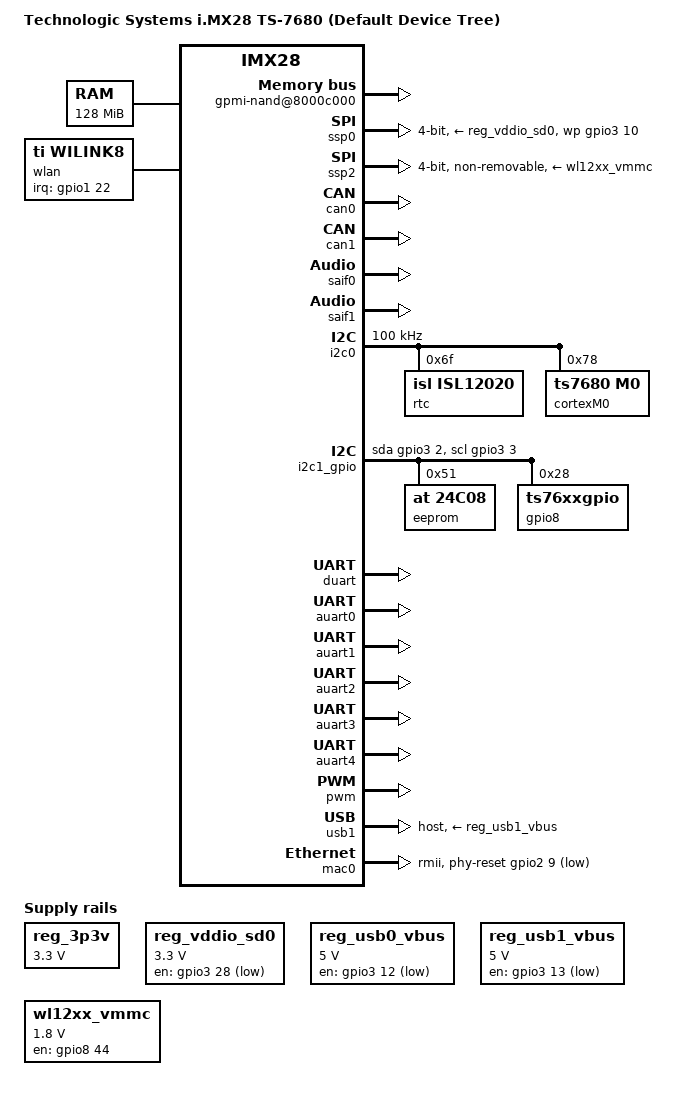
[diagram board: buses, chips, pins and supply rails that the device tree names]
/*
 * Copyright (C) 2012 Marek Vasut <marex@denx.de>
 *
 * The code contained herein is licensed under the GNU General Public
 * License. You may obtain a copy of the GNU General Public License
 * Version 2 or later at the following locations:
 *
 * http://www.opensource.org/licenses/gpl-license.html
 * http://www.gnu.org/copyleft/gpl.html
 */

/dts-v1/;
#include "imx28.dtsi"
#include "dt-bindings/gpio/gpio.h"
#include <dt-bindings/interrupt-controller/irq.h>

/ {
	model = "Technologic Systems i.MX28 TS-7680 (Default Device Tree)";
	compatible = "fsl,imx28-ts7680", "fsl,imx28";

	memory {
		reg = <0x40000000 0x08000000>;   /* 128MB */
	};

	apb@80000000 {
		apbh@80000000 {
		
			gpmi-nand@8000c000 {
				#address-cells = <1>;
				#size-cells = <1>;
				pinctrl-names = "default";
				pinctrl-0 = <&gpmi_pins_ts7680 &gpmi_status_cfg_ts7680>;
				status = "okay";

				partition@0 {
					label = "bootloader";
					reg = <0x00000000 0x01400000>;
				};

				partition@1 {
					label = "tspart";
					reg = <0x01400000 0x01400000>;
				};

				partition@2 {
					label = "filesystem";
					reg = <0x02800000 0x7D800000>;
				};
			};
	   
			
			ssp0: ssp@80010000 {
				compatible = "fsl,imx28-mmc";
				#address-cells = <1>;
				#size-cells = <0>;
				reg = <0x80010000 0x2000>;
				interrupts = <96>;
				clocks = <&clks 46>;
				dmas = <&dma_apbh 0>;
				dma-names = "rx-tx";
				pinctrl-names = "default";
				pinctrl-0 = <&mmc0_4bit_pins_ts7680					     
					     &mmc0_sck_cfg
					     &en_sd_pwr>;
				broken-cd = <1>;	     
				bus-width = <4>;
				wp-gpios = <&gpio3 10 0>;
				vmmc-supply = <&reg_vddio_sd0>;
				status = "okay";
			};
						
			ssp2: ssp@80014000 {
				compatible = "fsl,imx28-mmc";
				max-frequency = <26000000>;
				pinctrl-names = "default";
				pinctrl-0 = <&mmc1_4bit_pins_ts7680 
				            &mmc_sck_cfg 
				            &wifi_irq>;
				broken-cd = <1>;				
				cap-sdio-irq;
				non-removable;
				bus-width = <4>;
				vmmc-supply = <&wl12xx_vmmc>;
				status = "okay";
			};
			
			
			pinctrl@80018000 {
				pinctrl-names = "default";
				
				en_sd_pwr: en_sd_pwr {
				   fsl,pinmux-ids = <
				      MX28_PAD_PWM3__GPIO_3_28   // EN_SD_POWER#
				   >;
				   fsl,drive-strength = <MXS_DRIVE_4mA>;
					fsl,voltage = <MXS_VOLTAGE_HIGH>;
					fsl,pull-up = <MXS_PULL_DISABLE>;				   
				};
								
				mmc0_4bit_pins_ts7680: mmc0-4bit@0 {
					reg = <0>;
					fsl,pinmux-ids = <
						MX28_PAD_SSP0_DATA0__SSP0_D0
						MX28_PAD_SSP0_DATA1__SSP0_D1
						MX28_PAD_SSP0_DATA2__SSP0_D2
						MX28_PAD_SSP0_DATA3__SSP0_D3
						MX28_PAD_SSP0_CMD__SSP0_CMD						
						MX28_PAD_SSP0_SCK__SSP0_SCK
					>;
					fsl,drive-strength = <MXS_DRIVE_8mA>;
					fsl,voltage = <MXS_VOLTAGE_HIGH>;
					fsl,pull-up = <MXS_PULL_ENABLE>;
				};
				
				mmc1_4bit_pins_ts7680: mmc1-4bit@0 {   /* wifi */
					reg = <0>;
					fsl,pinmux-ids = <
					   MX28_PAD_SSP0_DATA4__SSP2_D0
					   MX28_PAD_SSP2_SS1__SSP2_D1
						MX28_PAD_SSP2_SS2__SSP2_D2
						MX28_PAD_SSP0_DATA5__SSP2_D3
						MX28_PAD_SSP0_DATA6__SSP2_CMD
						MX28_PAD_SSP0_DATA7__SSP2_SCK						
						MX28_PAD_LCD_D22__GPIO_1_22
					>;
					fsl,drive-strength = <MXS_DRIVE_8mA>;
					fsl,voltage = <MXS_VOLTAGE_LOW>;
					fsl,pull-up = <MXS_PULL_ENABLE>;
				};

				
				wifi_irq: wifi-irq {									
					fsl,pinmux-ids = <					   
						MX28_PAD_LCD_D22__GPIO_1_22
					>;
					fsl,drive-strength = <MXS_DRIVE_8mA>;
					fsl,pull-up = <MXS_PULL_ENABLE>;
				};

				mmc_sck_cfg: mmc-sck-cfg {
					fsl,pinmux-ids = <
						MX28_PAD_SSP0_DATA7__SSP2_SCK
					>;
					fsl,drive-strength = <MXS_DRIVE_12mA>;
					fsl,pull-up = <MXS_PULL_DISABLE>;
				};
				
								
				gpmi_pins_ts7680: gpmi-nand-ts7680@0 {
					reg = <0>;
					fsl,pinmux-ids = <
						MX28_PAD_GPMI_D00__GPMI_D0
						MX28_PAD_GPMI_D01__GPMI_D1
						MX28_PAD_GPMI_D02__GPMI_D2
						MX28_PAD_GPMI_D03__GPMI_D3
						MX28_PAD_GPMI_D04__GPMI_D4
						MX28_PAD_GPMI_D05__GPMI_D5
						MX28_PAD_GPMI_D06__GPMI_D6
						MX28_PAD_GPMI_D07__GPMI_D7
						MX28_PAD_GPMI_CE0N__GPMI_CE0N
						MX28_PAD_GPMI_RDY0__GPMI_READY0
						MX28_PAD_GPMI_RDN__GPMI_RDN
						MX28_PAD_GPMI_WRN__GPMI_WRN
						MX28_PAD_GPMI_ALE__GPMI_ALE
						MX28_PAD_GPMI_CLE__SSP3_D2
						MX28_PAD_GPMI_CLE__GPMI_CLE
						MX28_PAD_GPMI_RDY1__GPIO_0_21      /* NC */
						MX28_PAD_GPMI_CE1N__GPIO_0_17      /* RED_LED# */
						MX28_PAD_GPMI_RESETN__GPIO_0_28    /* GREEN_LED# */
					>;
					fsl,drive-strength = <MXS_DRIVE_4mA>;
					fsl,voltage = <MXS_VOLTAGE_HIGH>;
					fsl,pull-up = <MXS_PULL_ENABLE>;
				};
				
				gpmi_status_cfg_ts7680: gpmi-status-cfg-ts7680 {
					fsl,pinmux-ids = <
						MX28_PAD_GPMI_RDN__GPMI_RDN
						MX28_PAD_GPMI_WRN__GPMI_WRN						
						MX28_PAD_GPMI_CE1N__GPIO_0_17      /* RED_LED# */
						MX28_PAD_GPMI_RESETN__GPIO_0_28    /* GREEN_LED# */
					>;
					
					fsl,drive-strength = <MXS_DRIVE_12mA>;
				};
				
				mac0_pins_ts7680: mac0@0 {
					reg = <0>;
					fsl,pinmux-ids = <
					   MX28_PAD_ENET0_MDC__GPIO_4_0
					   MX28_PAD_ENET0_MDIO__GPIO_4_1
					   MX28_PAD_ENET0_RX_EN__ENET0_RX_EN
					   MX28_PAD_ENET0_RXD0__ENET0_RXD0
					   MX28_PAD_ENET0_RXD1__ENET0_RXD1
					   MX28_PAD_ENET0_TX_EN__ENET0_TX_EN
					   MX28_PAD_ENET0_TXD0__ENET0_TXD0
					   MX28_PAD_ENET0_TXD1__ENET0_TXD1
					   MX28_PAD_ENET_CLK__CLKCTRL_ENET
					   MX28_PAD_SSP0_DETECT__GPIO_2_9   // ETH_RESET#
					>;
					fsl,drive-strength = <MXS_DRIVE_8mA>;
					fsl,voltage = <MXS_VOLTAGE_HIGH>;
					fsl,pull-up = <MXS_PULL_ENABLE>;
				};

			  i2c1_gpio_pins: i2c1_gpio_pins@0 {			  
			     fsl,pinmux-ids = <
				      MX28_PAD_AUART0_RTS__GPIO_3_3   // E2_I2C_CLK
				      MX28_PAD_AUART0_CTS__GPIO_3_2   // E2_I2C_DAT
				   >;
				   fsl,drive-strength = <MXS_DRIVE_4mA>;
					fsl,voltage = <MXS_VOLTAGE_HIGH>;
					fsl,pull-up = <MXS_PULL_ENABLE>;				  
			  };				
			  
			  
			  spi_boot_pins_auart2: spi-boot-pins-auart2@0 {
			      reg = <0>;
					fsl,pinmux-ids = <
						MX28_PAD_SSP2_SCK__AUART2_RX
						MX28_PAD_SSP2_MOSI__AUART2_TX
					>;
					fsl,drive-strength = <MXS_DRIVE_4mA>;
					fsl,voltage = <MXS_VOLTAGE_HIGH>;
					fsl,pull-up = <MXS_PULL_DISABLE>;
			  };

			  spi_boot_pins_auart3: spi-boot-pins-auart3@0 {
			      reg = <0>;
					fsl,pinmux-ids = <
						MX28_PAD_SSP2_MISO__AUART3_RX
						MX28_PAD_SSP2_SS0__AUART3_TX
					>;
					fsl,drive-strength = <MXS_DRIVE_4mA>;
					fsl,voltage = <MXS_VOLTAGE_HIGH>;
					fsl,pull-up = <MXS_PULL_DISABLE>;
			  };

			  auart4_pins: auart4@0 {
			      reg = <0>;
					fsl,pinmux-ids = <
						MX28_PAD_SAIF0_BITCLK__AUART4_RX
						MX28_PAD_SAIF0_SDATA0__AUART4_TX
						>;
					fsl,drive-strength = <MXS_DRIVE_4mA>;
					fsl,voltage = <MXS_VOLTAGE_HIGH>;
					fsl,pull-up = <MXS_PULL_DISABLE>;
			  };

			};
			
			can0: can@80032000 {
				pinctrl-names = "default";
				pinctrl-0 = <&can0_pins_a>;
				status = "okay";
			};

			can1: can@80034000 {
				pinctrl-names = "default";
				pinctrl-0 = <&can1_pins_a>;
				status = "okay";
			};
			
			
			
		};

		apbx@80040000 {
			saif0: saif@80042000 {
				pinctrl-names = "default";
				pinctrl-0 = <&saif0_pins_a>;
				status = "okay";
			};

			saif1: saif@80046000 {
				pinctrl-names = "default";
				pinctrl-0 = <&saif1_pins_a>;
				fsl,saif-master = <&saif0>;
				status = "okay";
			};


			i2c0: i2c@80058000 {
				pinctrl-names = "default";
				pinctrl-0 = <&i2c0_pins_a>;
				clock-frequency = <100000>;
				status = "okay";

				rtc: isl12020@6f {
				compatible = "isl,isl12020";
				reg = <0x6f>;
				};

				cortexM0: cortextm0@78 {
				compatible = "ts7680,m0";
				reg = <0x78>;				
				};
		   };

			i2c1_gpio: i2c1_gpio@0 {
			   compatible = "i2c-gpio";
			   gpios = <&gpio3 2 0       // E2_I2C_DAT
			         &gpio3 3 0          // E2_I2C_CLK
			      >;
			   i2c-gpio,sda-open-drain;
			   i2c-gpio,scl-open-drain;
			   i2c-gpio,delay-us = <2>;	/* ~100 kHz */
			   i2c-gpio,timeout-ms = <500>; 
			   #address-cells = <1>;
			   #size-cells = <0>;			   
				pinctrl-names = "default";
				pinctrl-0 = <&i2c1_gpio_pins>;
				status = "okay";
				
				eeprom: eeprom@51 {
				   compatible = "at,24c08";
				   reg = <0x51>;
				   pagesize = <16>;
				};
						
				gpio8: ts7680gpio@28 {
				   compatible = "ts76xxgpio";
				   reg = <0x28>;   
				   #gpio-cells = <2>;
				   gpio-controller;
				};
			};
			
			duart: serial@80074000 {
				pinctrl-names = "default";
				pinctrl-0 = <&duart_pins_a>;
				status = "okay";
			};

			usbphy0: usbphy@8007c000 {
				status = "okay";
								
			};

			usbphy1: usbphy@8007e000 {			   
				status = "okay";
			};


			auart0: serial@8006a000 {
				pinctrl-names = "default";
				pinctrl-0 = <&auart0_2pins_a>;
				status = "okay";
			};

			auart1: serial@8006c000 {
				pinctrl-names = "default";
				pinctrl-0 = <&auart1_2pins_a>;
				status = "okay";
			};

			auart2: serial@8006e000 {
				pinctrl-names = "default";
				pinctrl-0 = <&spi_boot_pins_auart2>;
				status = "okay";
			};

			auart3: serial@80070000 {
				pinctrl-names = "default";
				pinctrl-0 = <&spi_boot_pins_auart3>;
				status = "okay";
			};

			auart4: serial@80072000 {
				pinctrl-names = "default";
				pinctrl-0 = <&auart4_pins>;
				status = "okay";
			};

			pwm: pwm@80064000 {
				pinctrl-names = "default";
				pinctrl-0 = <&pwm4_pins_a>;
				status = "okay";
			};
		};
	};

	ahb@80080000 {	   
		usb1: usb@80090000 {
			vbus-supply = <&reg_usb1_vbus>;		
			disable-over-current;
			dr_mode = "host";
			status = "okay";
		};

		mac0: ethernet@800f0000 {
			phy-mode = "rmii";
			pinctrl-names = "default";
			pinctrl-0 = <&mac0_pins_ts7680>;			      
			clocks = <&clks 57>, <&clks 57>, <&clks 64>;
			clock-names = "ipg", "ahb", "enet_out";
			phy-reset-gpios = <&gpio2 9 GPIO_ACTIVE_LOW>;
			phy-reset-duration = <1000>;
			status = "okay";

	      phy: ethernet@0 {	   
	         device_type = "network";	         				         	    
	         fixed-link = <0 1 100 0 0>;
	         };
		};
	};

	regulators {
		compatible = "simple-bus";

		reg_3p3v: 3p3v {
			compatible = "regulator-fixed";
			regulator-name = "3P3V";
			regulator-min-microvolt = <3300000>;
			regulator-max-microvolt = <3300000>;
			regulator-always-on;
		};
		
		
		reg_vddio_sd0: vddio-sd0 {
			compatible = "regulator-fixed";
			regulator-name = "vddio-sd0";
			regulator-min-microvolt = <3300000>;
			regulator-max-microvolt = <3300000>;
			regulator-boot-on;
			gpio = <&gpio3 28 0>;
			};
	
		
		reg_usb0_vbus: usb0_vbus {
			compatible = "regulator-fixed";
			regulator-name = "usb0_vbus";
			regulator-min-microvolt = <5000000>;
			regulator-max-microvolt = <5000000>;
			gpio = <&gpio3 12 0>;
			
		};

		reg_usb1_vbus: usb1_vbus {
			compatible = "regulator-fixed";
			regulator-name = "usb1_vbus";
			regulator-min-microvolt = <5000000>;
			regulator-max-microvolt = <5000000>;
			gpio = <&gpio3 13 0>;
			regulator-always-on;
		};
		
		
		wl12xx_vmmc: wl12xx-vmmc {		
			compatible = "regulator-fixed";
			regulator-name = "vddio-sd1";
			regulator-min-microvolt = <1800000>;
			regulator-max-microvolt = <1800000>;
			gpio = <&gpio8 44 0>;
			startup-delay-us = <70000>;
			enable-active-high;
			regulator-boot-on;
		};


	};
	
	wlan  {
      compatible = "ti,wilink8";		
		interrupt-parent = <&gpio1>;		
		interrupts = <22 IRQ_TYPE_EDGE_FALLING>;
		interrupt-names = "wlan";
		status = "okay";
	};
				
};


